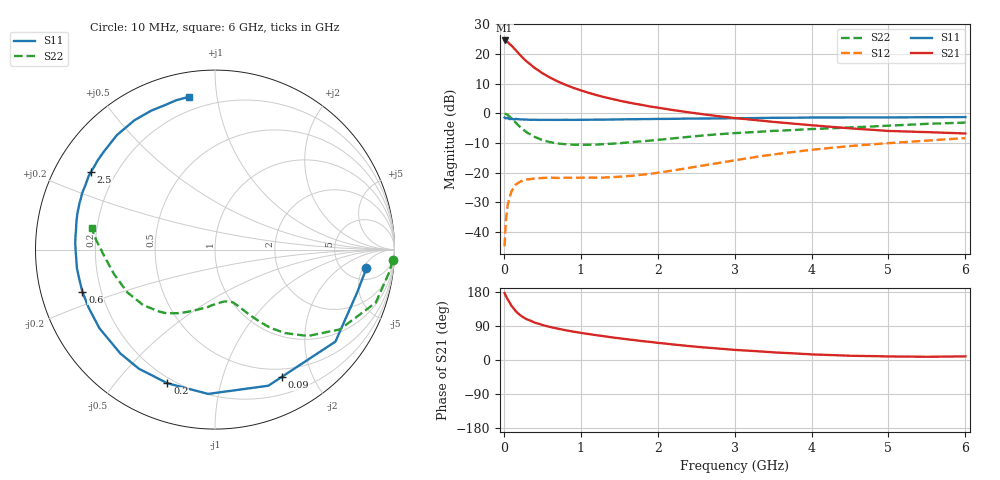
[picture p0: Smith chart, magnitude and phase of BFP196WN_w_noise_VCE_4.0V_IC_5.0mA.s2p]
! Infineon Technologies  Discrete & RF Semiconductors
! BFP196WN
! VCE =  4.0 V,  IC =  5.0 mA
! Common Emitter S-Parameters:  Jan 2017
# GHz  S  MA  R  50
!  f  S11  S21  S12  S22
! GHz  MAG  ANG  MAG  ANG  MAG  ANG  MAG  ANG
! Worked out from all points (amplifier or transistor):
!   77 points, 10 MHz to 6 GHz, reference 50 ohm
!   highest |S21| = 24.5 dB at 10 MHz (marker M1)
!   |S21| within 3 dB of that: start of sweep to 145.5 MHz
!   unconditionally stable (mu >= 1): 1.354 GHz to 2.662 GHz
!   at 130 MHz: K = 0.12, MSG = 23.4 dB, |S12| = -24.9 dB
!   at 2.2 GHz: K = 1.10, MAG = 8.3 dB, |S12| = -19.3 dB
!   at 6 GHz: K = 0.91, MSG = 0.8 dB, |S12| = -8.3 dB
!   lowest NFmin = 1.08 dB at 450 MHz
!   S11 on the Smith chart (normalised r, x): 10 MHz: 7.89, -5.89; 90 MHz: 0.40, -1.58; 200 MHz: 0.17, -0.69; 600 MHz: 0.13, -0.15; 2.5 GHz: 0.11, +0.29; 6 GHz: 0.13, +0.84
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0.01  0.85 -7.0  16.82 177.0  0.0058 85.6  0.9927 -3.5
0.02  0.8276 -16.6  16.37 171.7  0.0113 82.4  0.9789 -7.4
0.05  0.8444 -37.4  15.87 159.8  0.0285 71.2  0.9434 -18.2
0.09  0.8009 -62.3  14.1 146.5  0.0444 58.7  0.8446 -29.4
0.1  0.8146 -68.6  13.79 142.7  0.0486 56.9  0.8257 -32.6
0.15  0.8049 -92.7  11.75 129.9  0.0625 45.5  0.7069 -42.9
0.2  0.7905 -109.6  9.918 120.2  0.0691 38.0  0.607 -50.0
0.25  0.7876 -122.6  8.497 112.9  0.0747 33.5  0.5343 -54.7
0.3  0.783 -132.3  7.386 107.3  0.0769 29.4  0.4747 -58.1
0.4  0.779 -145.8  5.796 98.7  0.0797 25.2  0.401 -62.8
0.5  0.7748 -155.3  4.735 92.4  0.0815 23.4  0.3547 -66.3
0.6  0.7754 -162.4  3.992 87.2  0.0825 22.4  0.3269 -69.1
0.7  0.7739 -167.7  3.436 82.8  0.0817 22.3  0.3097 -71.4
0.8  0.7762 -172.3  3.025 78.6  0.0823 23.5  0.3019 -74.1
1.1  0.7793 177.5  2.214 68.6  0.0824 27.6  0.2949 -82.4
1.5  0.7891 167.5  1.635 57.3  0.0854 36.7  0.3128 -94.1
2.1  0.8051 155.2  1.187 43.3  0.1043 51.4  0.3672 -111.1
2.5  0.8152 147.8  0.999 35.1  0.1264 57.5  0.4122 -120.8
3.1  0.8265 137.4  0.808 25.5  0.1694 60.2  0.4707 -134.0
4.1  0.8483 120.6  0.615 14.1  0.2502 55.2  0.5485 -156.6
5.1  0.8531 108.2  0.5 9.2  0.3205 46.3  0.6273 -178.5
6  0.8636 99.5  0.457 9.6  0.3825 38.6  0.6978 170.1
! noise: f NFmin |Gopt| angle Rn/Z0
0.45  1.08  0.44  121  0.07
0.9  1.21  0.58  158  0.06
1.9  2.72  0.75  203  0.15
2.4  3.62  0.76  211  0.29
